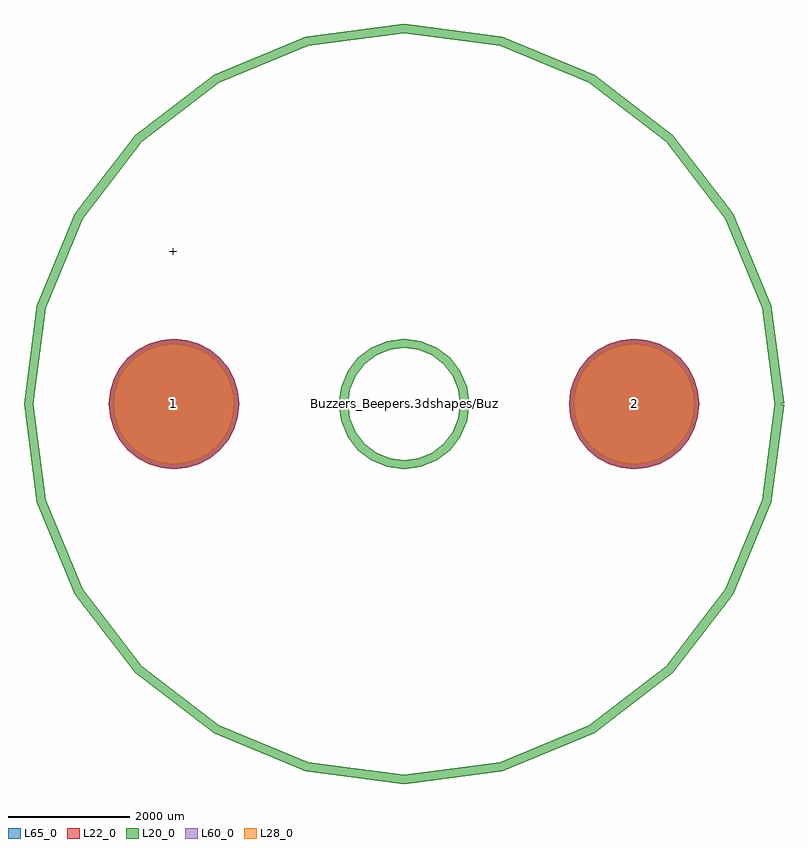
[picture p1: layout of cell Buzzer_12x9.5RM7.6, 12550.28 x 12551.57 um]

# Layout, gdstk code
import gdstk
lib = gdstk.Library(unit=1e-6, precision=1e-09)
def P(c, l, *ps):  # polygons
    for p in ps: c.add(gdstk.Polygon(p, *l))
L20_0 = (20, 0)
L22_0 = (22, 0)
L28_0 = (28, 0)
L60_0 = (60, 0)
L65_0 = (65, 0)

buzzer_12x9_5rm7_6 = lib.new_cell('Buzzer_12x9.5RM7.6')
P(buzzer_12x9_5rm7_6, L22_0, [(4874.84,0),(4854.184,209.722),(4793.01,411.385),(4693.67,597.238),(4559.98,760.14),(4397.078,893.83),(4211.225,993.17),(4009.562,1054.344),(3799.84,1075),(3590.118,1054.344),(3388.455,993.17),(3202.602,893.83),(3039.7,760.14),(2906.01,597.238),(2806.67,411.385),(2745.496,209.722),(2724.84,0),(2745.496,-209.722),(2806.67,-411.385),(2906.01,-597.238),(3039.7,-760.14),(3202.602,-893.83),(3388.455,-993.17),(3590.118,-1054.344),(3799.84,-1075),(4009.562,-1054.344),(4211.225,-993.17),(4397.078,-893.83),(4559.98,-760.14),(4693.67,-597.238),(4793.01,-411.385),(4854.184,-209.722)],
  [(-2724.84,0),(-2745.496,209.722),(-2806.67,411.385),(-2906.01,597.238),(-3039.7,760.14),(-3202.602,893.83),(-3388.455,993.17),(-3590.118,1054.344),(-3799.84,1075),(-4009.562,1054.344),(-4211.225,993.17),(-4397.078,893.83),(-4559.98,760.14),(-4693.67,597.238),(-4793.01,411.385),(-4854.184,209.722),(-4874.84,0),(-4854.184,-209.722),(-4793.01,-411.385),(-4693.67,-597.238),(-4559.98,-760.14),(-4397.078,-893.83),(-4211.225,-993.17),(-4009.562,-1054.344),(-3799.84,-1075),(-3590.118,-1054.344),(-3388.455,-993.17),(-3202.602,-893.83),(-3039.7,-760.14),(-2906.01,-597.238),(-2806.67,-411.385),(-2745.496,-209.722)])
P(buzzer_12x9_5rm7_6, L28_0, [(4799.84,0),(4780.625,195.09),(4723.72,382.683),(4631.31,555.57),(4506.947,707.107),(4355.41,831.47),(4182.523,923.88),(3994.93,980.785),(3799.84,1000),(3604.75,980.785),(3417.157,923.88),(3244.27,831.47),(3092.733,707.107),(2968.37,555.57),(2875.96,382.683),(2819.055,195.09),(2799.84,0),(2819.055,-195.09),(2875.96,-382.683),(2968.37,-555.57),(3092.733,-707.107),(3244.27,-831.47),(3417.157,-923.88),(3604.75,-980.785),(3799.84,-1000),(3994.93,-980.785),(4182.523,-923.88),(4355.41,-831.47),(4506.947,-707.107),(4631.31,-555.57),(4723.72,-382.683),(4780.625,-195.09)],
  [(-2799.84,0),(-2819.055,195.09),(-2875.96,382.683),(-2968.37,555.57),(-3092.733,707.107),(-3244.27,831.47),(-3417.157,923.88),(-3604.75,980.785),(-3799.84,1000),(-3994.93,980.785),(-4182.523,923.88),(-4355.41,831.47),(-4506.947,707.107),(-4631.31,555.57),(-4723.72,382.683),(-4780.625,195.09),(-4799.84,0),(-4780.625,-195.09),(-4723.72,-382.683),(-4631.31,-555.57),(-4506.947,-707.107),(-4355.41,-831.47),(-4182.523,-923.88),(-3994.93,-980.785),(-3799.84,-1000),(-3604.75,-980.785),(-3417.157,-923.88),(-3244.27,-831.47),(-3092.733,-707.107),(-2968.37,-555.57),(-2875.96,-382.683),(-2819.055,-195.09)])
P(buzzer_12x9_5rm7_6, L60_0, [(4799.84,0),(4780.625,195.09),(4723.72,382.683),(4631.31,555.57),(4506.947,707.107),(4355.41,831.47),(4182.523,923.88),(3994.93,980.785),(3799.84,1000),(3604.75,980.785),(3417.157,923.88),(3244.27,831.47),(3092.733,707.107),(2968.37,555.57),(2875.96,382.683),(2819.055,195.09),(2799.84,0),(2819.055,-195.09),(2875.96,-382.683),(2968.37,-555.57),(3092.733,-707.107),(3244.27,-831.47),(3417.157,-923.88),(3604.75,-980.785),(3799.84,-1000),(3994.93,-980.785),(4182.523,-923.88),(4355.41,-831.47),(4506.947,-707.107),(4631.31,-555.57),(4723.72,-382.683),(4780.625,-195.09)],
  [(-2799.84,0),(-2819.055,195.09),(-2875.96,382.683),(-2968.37,555.57),(-3092.733,707.107),(-3244.27,831.47),(-3417.157,923.88),(-3604.75,980.785),(-3799.84,1000),(-3994.93,980.785),(-4182.523,923.88),(-4355.41,831.47),(-4506.947,707.107),(-4631.31,555.57),(-4723.72,382.683),(-4780.625,195.09),(-4799.84,0),(-4780.625,-195.09),(-4723.72,-382.683),(-4631.31,-555.57),(-4506.947,-707.107),(-4355.41,-831.47),(-4182.523,-923.88),(-3994.93,-980.785),(-3799.84,-1000),(-3604.75,-980.785),(-3417.157,-923.88),(-3244.27,-831.47),(-3092.733,-707.107),(-2968.37,-555.57),(-2875.96,-382.683),(-2819.055,-195.09)])
P(buzzer_12x9_5rm7_6, L65_0, [(4874.84,0),(4854.184,209.722),(4793.01,411.385),(4693.67,597.238),(4559.98,760.14),(4397.078,893.83),(4211.225,993.17),(4009.562,1054.344),(3799.84,1075),(3590.118,1054.344),(3388.455,993.17),(3202.602,893.83),(3039.7,760.14),(2906.01,597.238),(2806.67,411.385),(2745.496,209.722),(2724.84,0),(2745.496,-209.722),(2806.67,-411.385),(2906.01,-597.238),(3039.7,-760.14),(3202.602,-893.83),(3388.455,-993.17),(3590.118,-1054.344),(3799.84,-1075),(4009.562,-1054.344),(4211.225,-993.17),(4397.078,-893.83),(4559.98,-760.14),(4693.67,-597.238),(4793.01,-411.385),(4854.184,-209.722)],
  [(-2724.84,0),(-2745.496,209.722),(-2806.67,411.385),(-2906.01,597.238),(-3039.7,760.14),(-3202.602,893.83),(-3388.455,993.17),(-3590.118,1054.344),(-3799.84,1075),(-4009.562,1054.344),(-4211.225,993.17),(-4397.078,893.83),(-4559.98,760.14),(-4693.67,597.238),(-4793.01,411.385),(-4854.184,209.722),(-4874.84,0),(-4854.184,-209.722),(-4793.01,-411.385),(-4693.67,-597.238),(-4559.98,-760.14),(-4397.078,-893.83),(-4211.225,-993.17),(-4009.562,-1054.344),(-3799.84,-1075),(-3590.118,-1054.344),(-3388.455,-993.17),(-3202.602,-893.83),(-3039.7,-760.14),(-2906.01,-597.238),(-2806.67,-411.385),(-2745.496,-209.722)])
buzzer_12x9_5rm7_6.add(gdstk.FlexPath([(6200.14,0),(5988.875,1604.714),(5369.479,3100.07),(4384.161,4384.161),(3100.07,5369.479),(1604.714,5988.875),(0,6200.14),(-1604.714,5988.875),(-3100.07,5369.479),(-4384.161,4384.161),(-5369.479,3100.07),(-5988.875,1604.714),(-6200.14,0),(-5988.875,-1604.714),(-5369.479,-3100.07),(-4384.161,-4384.161),(-3100.07,-5369.479),(-1604.714,-5988.875),(0,-6200.14),(1604.714,-5988.875),(3100.07,-5369.479),(4384.161,-4384.161),(5369.479,-3100.07),(5988.875,-1604.714),(6200.14,0)], 149.998, ends="flush", simple_path=True, layer=20, datatype=0))  # L20_0
buzzer_12x9_5rm7_6.add(gdstk.FlexPath([(1000.76,0),(966.66,259.016),(866.684,500.38),(707.644,707.644),(500.38,866.684),(259.016,966.66),(0,1000.76),(-259.016,966.66),(-500.38,866.684),(-707.644,707.644),(-866.684,500.38),(-966.66,259.016),(-1000.76,0),(-966.66,-259.016),(-866.684,-500.38),(-707.644,-707.644),(-500.38,-866.684),(-259.016,-966.66),(0,-1000.76),(259.016,-966.66),(500.38,-866.684),(707.644,-707.644),(866.684,-500.38),(966.66,-259.016),(1000.76,0)], 149.998, ends="flush", simple_path=True, layer=20, datatype=0))  # L20_0
buzzer_12x9_5rm7_6.add(gdstk.Label('Buzzers_Beepers.3dshapes/Buzzer_12x9.5RM7.6.wrl', (0,0), layer=12, texttype=0))
buzzer_12x9_5rm7_6.add(gdstk.Label('2', (3799.84,0), layer=28, texttype=0))
buzzer_12x9_5rm7_6.add(gdstk.Label('1', (-3799.84,0), layer=28, texttype=0))
buzzer_12x9_5rm7_6.add(gdstk.Label('+', (-3810,2540), layer=9, texttype=0))
buzzer_12x9_5rm7_6.add(gdstk.Label('type', (-1000.76,-8001), layer=9, texttype=0))
buzzer_12x9_5rm7_6.add(gdstk.Label('devicename', (0,8001), layer=9, texttype=0))

lib.write_gds('Buzzer_12x9.5RM7.6.gds')
